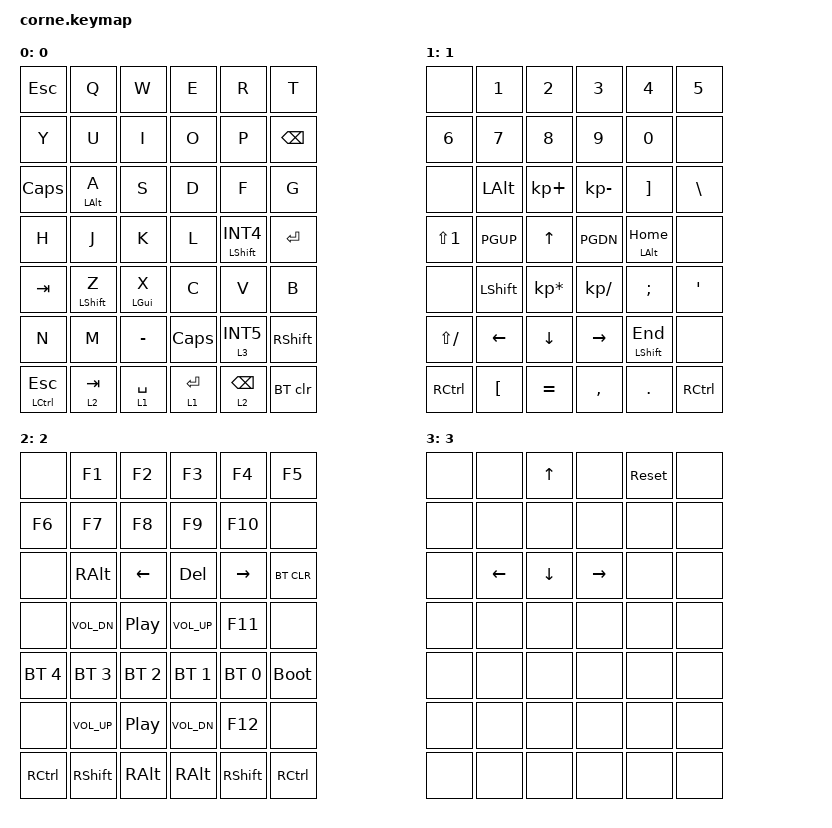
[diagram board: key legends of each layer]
/*
 * Copyright (c) 2020 The ZMK Contributors
 *
 * SPDX-License-Identifier: MIT
 */

#include <behaviors.dtsi>
#include <dt-bindings/zmk/bt.h>
#include <dt-bindings/zmk/keys.h>

#define DEFAULT_L 0
#define SYMBOLS_L 1
#define ARROWS_L  2
#define NUMBERS_L 3

/ {
    behaviors {
        hm: homerow_mods {
            compatible = "zmk,behavior-hold-tap";
            label = "HOMEROW_MODS";
            #binding-cells = <2>;
            tapping-term-ms = <300>;
            quick-tap-ms = <200>;
            flavor = "tap-preferred";
            bindings = <&kp>, <&kp>;
        };

        bt_clr: bt_clr {
            compatible = "zmk,behavior-bluetooth-clear";
            label = "BT_CLR";
        };
    };

    combos {
        compatible = "zmk,combos";

        a {
            bindings = <&kp ESCAPE>;
            key-positions = <2 1>;
        };

        b {
            bindings = <&kp CLCK>;
            key-positions = <14 15>;
        };

        c {
            bindings = <&kp TAB>;
            key-positions = <2 3>;
        };

        d {
            bindings = <&kp BACKSPACE>;
            key-positions = <10 9>;
        };

        e {
            bindings = <&kp ENTER>;
            key-positions = <22 21>;
        };

        f {
            bindings = <&kp MINUS>;
            key-positions = <19 20>;
        };

        g {
            bindings = <&kp EQUAL>;
            key-positions = <21 20>;
        };

        h {
            bindings = <&sys_reset>;
            key-positions = <1 29>;
        };

        j {
            bindings = <&sys_reset>;
            key-positions = <30 10>;
        };
    };

    keymap {
        compatible = "zmk,keymap";

        default_layer {
            label = "0";
            bindings = <
        &kp ESC       &kp Q  &kp W  &kp E       &kp R         &kp T
        &kp Y         &kp U  &kp I  &kp O       &kp P         &kp BSPC
        &kp CAPSLOCK  &mt LALT A &kp S  &kp D   &kp F         &kp G
        &kp H         &kp J  &kp K  &kp L       &mt LSHIFT INT4 &kp RET
        &kp TAB       &mt LSHIFT Z  &mt LGUI X  &kp C       &kp V         &kp B
        &kp N         &kp M  &kp MINUS  &kp CAPSLOCK  &lt 3 INT5  &kp RSHFT
        &mt LCTRL ESC &lt 2 TAB &lt 1 SPACE &lt 1 RET  &lt 2 BSPC &bt clr
    >;
};

        number_layer {
            label = "1";
            bindings = <

&none  &kp N1  &kp N2  &kp N3  &kp N4  &kp N5    &kp N6  &kp N7  &kp N8  &kp N9  &kp N0  &none
&none  &kp LALT  &kp KP_PLUS   &kp KP_MINUS  &kp RBKT  &kp BACKSLASH    &kp LS(N1)  &kp PGUP  &kp UP  &kp PGDN  &mt LALT HOME  &none
&none  &kp LSHIFT   &kp KP_ASTERISK   &kp KP_SLASH   &kp SCLN   &kp SQT     &kp LS(SLASH)  &kp LEFT   &kp DOWN  &kp RIGHT   &mt LSHIFT END   &none
&kp RCTRL  &kp LBKT   &kp EQUAL     &kp COMMA   &kp DOT  &kp RCTRL
            >;
        };

        bt_layer {
            label = "2";
            bindings = <

&none      &kp F1    &kp F2     &kp F3    &kp F4    &kp F5      &kp F6  &kp F7  &kp F8 &kp F9  &kp F10  &none
&none         &kp RALT        &kp LEFT_ARROW  &kp DEL       &kp RIGHT     &bt BT_CLR      &none       &kp C_VOL_DN      &kp C_PLAY_PAUSE      &kp C_VOL_UP      &kp F11      &none
&bt BT_SEL 4  &bt BT_SEL 3  &bt BT_SEL 2    &bt BT_SEL 1  &bt BT_SEL 0  &bootloader     &none       &kp C_VOL_UP       &kp C_PLAY_PAUSE       &kp C_VOL_DN       &kp F12       &none
                                            &kp RCTRL         &kp RSHIFT       &kp RALT           &kp RALT       &kp RSHIFT       &kp RCTRL
            >;
        };

        arrow_layer {
            label = "3";
            bindings = <

&none  &none          &kp UP_ARROW    &none       &sys_reset  &none    &none  &none  &none  &none  &none  &none
&none  &kp LEFT_ARROW  &kp DOWN_ARROW  &kp RIGHT   &none       &none    &none  &none  &none  &none  &none  &none
&none  &none          &none           &none       &none       &none    &none  &none  &none  &none  &none  &none
                                        &none       &none       &none    &none  &none  &none
            >;
        };
    };
};
